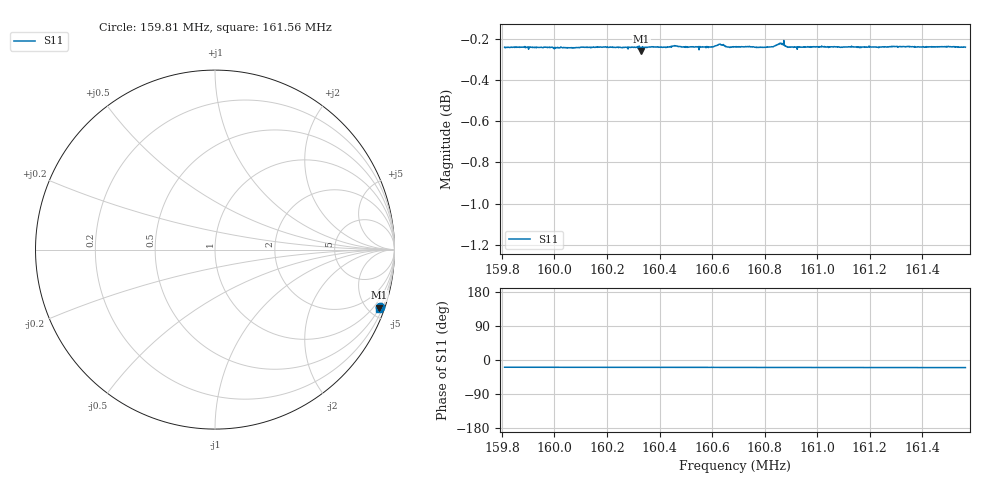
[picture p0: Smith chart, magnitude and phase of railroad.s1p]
! Calibrated averaged scanner-service zoom
# Hz S RI R 50
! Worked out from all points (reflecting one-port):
!   1001 points, 159.81 MHz to 161.56 MHz, reference 50 ohm
!   lowest |S11| = -0.3 dB at 160.33 MHz (marker M1), VSWR 67.15, Z = 26 - j290 ohm
!   phase of S11 starts at -19 deg and turns -1 deg over the sweep
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1.5981e8  0.9191 -0.3187
1.599486e8  0.9186 -0.3199
1.59989e8  0.9185 -0.3203
1.599908e8  0.9185 -0.3206
1.600294e8  0.9181 -0.3205
1.602488e8  0.9178 -0.3224
1.603312e8  0.9154 -0.3227
1.603663e8  0.9176 -0.3233
1.60419e8  0.9174 -0.3238
1.604541e8  0.9177 -0.3248
1.604681e8  0.9175 -0.3248
1.604874e8  0.9172 -0.3246
1.605945e8  0.9168 -0.3255
1.606068e8  0.9171 -0.3252
1.606296e8  0.919 -0.3237
1.606366e8  0.9185 -0.3242
1.606594e8  0.9167 -0.3259
1.606875e8  0.9167 -0.3262
1.608226e8  0.9162 -0.3274
1.608349e8  0.9164 -0.3276
1.608577e8  0.9183 -0.3275
1.608648e8  0.9181 -0.3277
1.608858e8  0.9162 -0.3279
1.609069e8  0.9159 -0.328
1.611262e8  0.9152 -0.3299
1.611596e8  0.915 -0.3302
1.613456e8  0.9149 -0.3317
1.61565e8  0.9138 -0.3337
